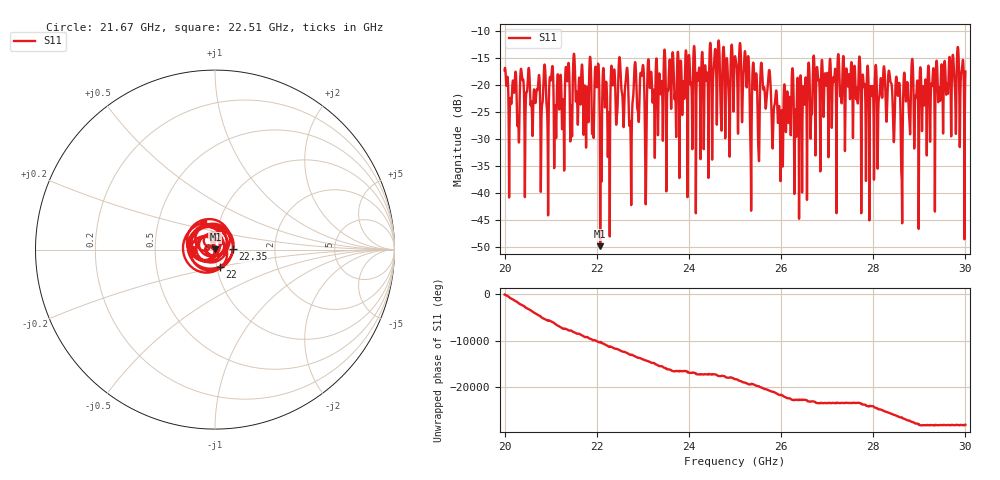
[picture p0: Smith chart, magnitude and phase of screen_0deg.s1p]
#  HZ  S  RI  R  50.00
! Rohde & Schwarz ZVA40 4Ports - Version 3.90 - 1145.1110k42 SN: 100403
! Date: 2023-09-30 05:02:47
! Measurement: S22
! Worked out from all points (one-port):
!   5001 points, 20 GHz to 30 GHz, reference 50 ohm
!   lowest |S11| = -49.8 dB at 22.07 GHz (marker M1), VSWR 1.01, Z = 50.3 + j0.204 ohm
!   |S11| at or under -10 dB: start of sweep to end of sweep
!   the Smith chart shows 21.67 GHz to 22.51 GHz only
!   S11 on the Smith chart (normalised r, x): 21.67 GHz: 0.77, -0.00; 22 GHz: 1.04, -0.20; 22.35 GHz: 1.22, +0.01; 22.51 GHz: 0.84, +0.25
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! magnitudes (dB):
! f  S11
! 20 GHz  -17.3
! 20.12 GHz  -22.7
! 20.94 GHz  -44.1
! 21.01 GHz  -18.7
! 21.25 GHz  -27.9
! 21.67 GHz  -17.7
! 22 GHz  -20.1
! 22.07 GHz  -49.8
! 22.17 GHz  -22.9
! 22.26 GHz  -25.1
! 22.35 GHz  -20.0
! 22.5 GHz  -15.2
! 22.51 GHz  -15.8
! 22.74 GHz  -31.7
! 22.98 GHz  -18.1
! 23.05 GHz  -36.2
! 23.14 GHz  -19.1
! 23.75 GHz  -14.9
! 25 GHz  -14.7
! 25.5 GHz  -28.0
! 25.74 GHz  -17.5
! 26 GHz  -29.2
! 26.25 GHz  -17.0
! 27.5 GHz  -21.8
! 28.53 GHz  -21.8
! 28.6 GHz  -32.0
! 28.75 GHz  -20.3
! 30 GHz  -17.6
